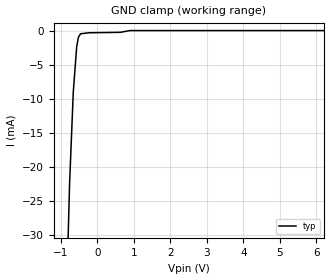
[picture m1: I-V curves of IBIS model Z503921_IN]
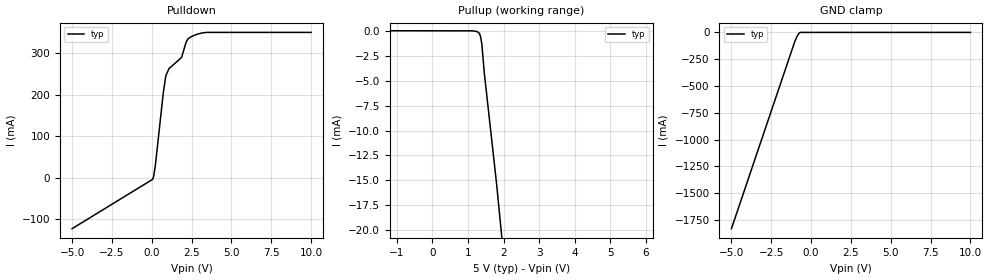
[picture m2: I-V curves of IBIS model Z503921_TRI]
| YOU ARE ONLY AUTHORIZED TO USE THIS SOFTWARE
| ACCORDING TO LICENSOR'S LICENSE RESTRICTIONS.
[IBIS Ver] 3.1
[File Name] mc54f240j.ibs
[File Rev] 2.0
[Source] Measured and created by ICX Technology
[Date] Friday 7/14/00 9:08:02 AM
[Copyright]
| (C) COPYRIGHT 1993-2000
| MENTOR GRAPHICS CORPORATION
| ICX STANDARD LIBRARY, ICX PROJECT MODELING,
| ICX CUSTOM MODELING, ICX VENDOR MODEL
| ALL RIGHTS RESERVED.
| THE FOLLOWING ARE TRADEMARKS OR SERVICE MARKS OF
| MENTOR GRAPHICS CORPORATION:ICX (R), ICX STANDARD
| LIBRARY(R), ICX PROJECT MODELING(R), ICX CUSTOM
| MODELING(R), qualityIBIS(TM), MODELVIEWER(TM),
| AND MODELEDITOR(TM)
| ALL COPIES OF SOFTWARE, INCLUDING BUT NOT LIMITED TO
| ANY MODIFICATIONS, ENHANCEMENTS OR DERIVATIVE WORKS,
| MUST CONTAIN ALL MENTOR GRAPHICS CORPORATION'S
| NOTICES AND LEGENDS, INCLUDING THOSE EMBEDDED IN
| SOFTWARE AND THOSE AFFIXED TO SOFTWARE MEDIUM
| AND CONTAINER, AS RECEIVED FROM MENTOR GRAPHICS
| CORPORATION.
|  ZAP Model Builder 2.7
[Component] MC54F240J
[Manufacturer] OnSemiconductor
[Package]
| variable   typ   min   max
R_pkg  .216ohms NA NA
L_pkg  5.76nH NA NA
C_pkg  2.193pF NA NA
[Pin] signal_name  model_name  R_pin  L_pin C_pin
1 _G Z503921_IN .232 9.76n 3.179p
2 A0 Z503921_IN .224 7.26n 2.686p
3 _Y3 Z503921_TRI .216 5.26n 2.193p
4 A1 Z503921_IN .208 3.76n 1.7p
5 _Y2 Z503921_TRI .2 2.76n 1.207p
6 A2 Z503921_IN .2 2.76n 1.207p
7 _Y1 Z503921_TRI .208 3.76n 1.7p
8 A3 Z503921_IN .216 5.26n 2.193p
9 _Y0 Z503921_TRI .224 7.26n 2.686p
10 GND GND .232 9.76n 3.179p
11 A0 Z503921_IN .232 9.76n 3.179p
12 _Y3 Z503921_TRI .224 7.26n 2.686p
13 A1 Z503921_IN .216 5.26n 2.193p
14 _Y2 Z503921_TRI .208 3.76n 1.7p
15 A2 Z503921_IN .2 2.76n 1.207p
16 _Y1 Z503921_TRI .2 2.76n 1.207p
17 A3 Z503921_IN .208 3.76n 1.7p
18 _Y0 Z503921_TRI .216 5.26n 2.193p
19 _G Z503921_IN .224 7.26n 2.686p
20 VCC POWER .232 9.76n 3.179p
| Models and submodels in the file (2): Z503921_IN (Input), Z503921_TRI (3-state)
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| (C) COPYRIGHT 1993-2000
| MENTOR GRAPHICS CORPORATION
| ICX STANDARD LIBRARY, ICX PROJECT MODELING,
| ICX CUSTOM MODELING, ICX VENDOR MODEL
| ALL RIGHTS RESERVED.
| THE FOLLOWING ARE TRADEMARKS OR SERVICE MARKS OF
| MENTOR GRAPHICS CORPORATION:ICX (R), ICX STANDARD
| LIBRARY(R), ICX PROJECT MODELING(R), ICX CUSTOM
| MODELING(R), qualityIBIS(TM), MODELVIEWER(TM),
| AND MODELEDITOR(TM)
| ALL COPIES OF SOFTWARE, INCLUDING BUT NOT LIMITED TO
| ANY MODIFICATIONS, ENHANCEMENTS OR DERIVATIVE WORKS,
| MUST CONTAIN ALL MENTOR GRAPHICS CORPORATION'S
| NOTICES AND LEGENDS, INCLUDING THOSE EMBEDDED IN
| SOFTWARE AND THOSE AFFIXED TO SOFTWARE MEDIUM
| AND CONTAINER, AS RECEIVED FROM MENTOR GRAPHICS
| CORPORATION.
| Model Application Version 1.89 2/18/99.
[Model] Z503921_IN
Model_type Input
Vinl = 800.0mV
Vinh = 2.000V
C_comp 4.000pF NA NA
| variable typ   min   max
[Voltage Range] 5.000V NA NA
[GND Clamp Reference] 0.000V NA NA
[POWER Clamp Reference] 5.000V NA NA
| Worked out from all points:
|   GND clamp passes 1 mA (typ) near -0.52 V on its own axis
[GND Clamp]
-5V       -868.6mA   NA         NA
-761mV    -22.54mA   NA         NA
-659mV    -8.989mA   NA         NA
-566.1mV  -2.375mA   NA         NA
-521mV    -1.012mA   NA         NA
-462.2mV  -457.9uA   NA         NA
-231.1mV  -310.5uA   NA         NA
630.4mV   -243.9uA   NA         NA
886.7mV   13.16uA    NA         NA
10V       13.16uA    NA         NA
[POWER Clamp]
-5V       0A         NA         NA
10V       0A         NA         NA
| (C) COPYRIGHT 1993-2000
| MENTOR GRAPHICS CORPORATION
| ICX STANDARD LIBRARY, ICX PROJECT MODELING,
| ICX CUSTOM MODELING, ICX VENDOR MODEL
| ALL RIGHTS RESERVED.
| THE FOLLOWING ARE TRADEMARKS OR SERVICE MARKS OF
| MENTOR GRAPHICS CORPORATION:ICX (R), ICX STANDARD
| LIBRARY(R), ICX PROJECT MODELING(R), ICX CUSTOM
| MODELING(R), qualityIBIS(TM), MODELVIEWER(TM),
| AND MODELEDITOR(TM)
| ALL COPIES OF SOFTWARE, INCLUDING BUT NOT LIMITED TO
| ANY MODIFICATIONS, ENHANCEMENTS OR DERIVATIVE WORKS,
| MUST CONTAIN ALL MENTOR GRAPHICS CORPORATION'S
| NOTICES AND LEGENDS, INCLUDING THOSE EMBEDDED IN
| SOFTWARE AND THOSE AFFIXED TO SOFTWARE MEDIUM
| AND CONTAINER, AS RECEIVED FROM MENTOR GRAPHICS
| CORPORATION.
| Model Application Version 1.89 2/18/99.
[Model] Z503921_TRI
Model_type 3-state
Vref=0.000V
Rref=500.0ohms
Cref=50.00pF
Vmeas=1.500V
C_comp 8.000pF NA NA
| variable typ   min   max
[Voltage Range] 5.000V NA NA
[POWER Clamp Reference] 5.000V NA NA
[Pullup Reference] 5.000V NA NA
[Pulldown Reference] 0.000V NA NA
[GND Clamp Reference] 0.000V NA NA
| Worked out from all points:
|   slope of the pulldown table from 0 to 0.75 V, typ, clamps not added: 3.47 ohm
|   GND clamp passes 1 mA (typ) near -0.70 V on its own axis
[GND Clamp]
-5V       -1.83A     NA         NA
-1.025V   -85.55mA   NA         NA
-879.5mV  -36.44mA   NA         NA
-771.5mV  -10.36mA   NA         NA
-694.3mV  0A         NA         NA
10V       0A         NA         NA
[Pulldown]
-5V       -122mA     NA         NA
72.33mV   -2.157mA   NA         NA
127mV     4.876mA    NA         NA
234.1mV   32.99mA    NA         NA
722.7mV   203.9mA    NA         NA
878.9mV   244.6mA    NA         NA
1.079V    262.2mA    NA         NA
1.87V     289.1mA    NA         NA
2.149V    325mA      NA         NA
2.259V    333.2mA    NA         NA
3.418V    349.2mA    NA         NA
10V       349.3mA    NA         NA
[Pullup]
-5V       28.54uA    NA         NA
1.143V    566.3nA    NA         NA
1.26V     -75.77uA   NA         NA
1.323V    -254.5uA   NA         NA
1.357V    -607.7uA   NA         NA
1.39V     -1.323mA   NA         NA
1.457V    -4.139mA   NA         NA
1.807V    -15.4mA    NA         NA
10V       -314.2mA   NA         NA
[POWER Clamp]
-5V       0A         NA         NA
10V       0A         NA         NA
[Ramp]
| variable typ min max
dV/dt_r 2.021/2.354n NA NA
dV/dt_f 2.021/1.919n NA NA
R_load = 500.0Ohms
